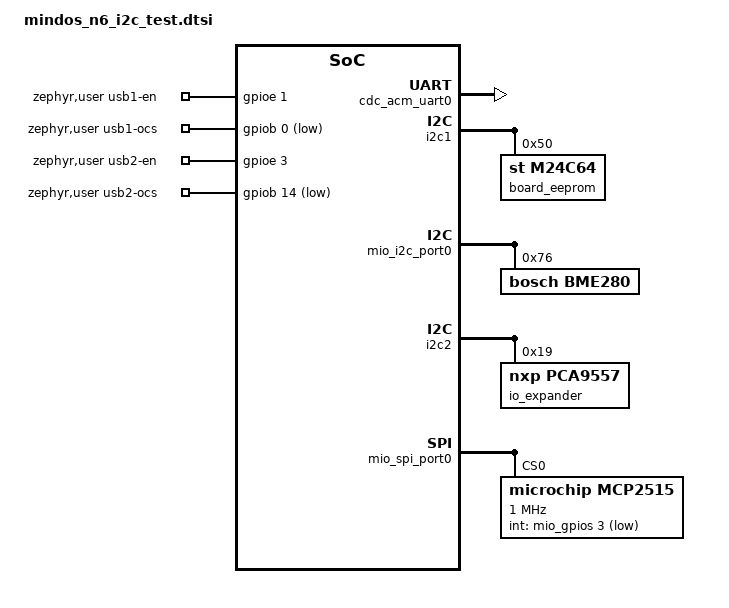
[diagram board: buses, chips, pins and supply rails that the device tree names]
/*
 * BME280 environmental sensor (temperature/pressure/humidity) wired
 * to the io_i2c (i2c2) header. Found at address 0x76 (SDO -> GND)
 * during the bus scan.
 *
 * PCA9557PW,118 8-bit I2C GPIO expander wired to io_i2c, found at
 * address 0x19 (address pins: A0=VCC, A1=GND, A2=GND). Uses the
 * out-of-tree "nxp,pca9557" driver in ../pca9557_driver - see that
 * directory's README for why Zephyr's in-tree "nxp,pca95xx" driver
 * does not work with this part.
 *
 * MCP2515 SPI CAN controller wired to the io_spi (spi2) header.
 * Chip select uses the hardware NSS pin (PA11) already wired up in
 * spi2's pinctrl; INT is on PB3.
 *
 * MAX98357A I2S amp/DAC wired to the io_i2s (i2s1) header. i2s1 is
 * already enabled by the board, but its DMA channels come from
 * gpdma1, which the SoC devicetree leaves "disabled" by default and
 * no board file turns on - without this, the I2S driver fails to
 * build (DEVICE_DT_GET() on a DMA channel device that doesn't exist).
 *
 * Two MIC2026-1YM USB port power switches (one per USB port). Each
 * has an EN input (PE1/PE3, active-high, drive high to turn on the
 * 5V switch) and an OCS/FLAG# output (PB5/PB14, active-low, asserted
 * on overcurrent/thermal fault - the closest available signal to
 * "is 5V actually present and healthy"). Exposed via the standard
 * zephyr,user node rather than a custom binding, since these are
 * just plain GPIOs with no protocol/chip driver involved.
 *
 * USB1 (usbotg_hs1 / zephyr_udc0) is also exercised as a USB CDC-ACM
 * serial device (see usb_device_test.c) - it shares the same physical
 * connector as the MIC2026-switched 5V above. usb_power_test.c always
 * drives that port's EN high, so when plugging this port into a PC,
 * physically isolate/unpower the MIC2026 first to avoid two 5V
 * sources fighting on the same VBUS pin.
 *
 * SPDX-License-Identifier: Apache-2.0
 */

#include <freq.h>
#include <zephyr/dt-bindings/gpio/gpio.h>

&gpdma1 {
	status = "okay";
};

/*
 * AXISRAM3: extra 448KB SRAM bank beyond the primary axisram1/2
 * region already used as zephyr,sram - see axisram_test.c for what
 * this demonstrates and why zephyr,sram itself can't just be
 * switched to axisram1 for "more RAM" (short version: on this
 * secure/serial-boot ("/sb") target the Boot ROM RAM-loads the whole
 * image into a fixed 511KB window at the top of the axisram1/2
 * range - that's what "axisram2" actually denotes here - and
 * anywhere else in that range is invalid during SB/FSBL boot).
 *
 * 448KB comes from the gap between axisram3/4/5/6's addresses in
 * dts/arm/st/n6/stm32n6.dtsi (0x34200000, 0x34270000, 0x342e0000,
 * 0x34350000 - each 0x70000 apart), cross-checked against an ST
 * engineer's figure of "3.75MB total across AXISRAM1-6" on the ST
 * community forum (3.75MB - 2MB for axisram1/2 = 1.75MB over 4
 * banks = 448KB each). Neither the upstream SoC dtsi nor either
 * official ST reference board (stm32n6570_dk, nucleo_n657x0_q) sets
 * reg on axisram3-6, so there's no in-tree example to copy from.
 *
 * status = "okay" is set explicitly (not relying on the default) -
 * CONFIG_STM32N6_AXISRAM's `default y if $(dt_nodelabel_enabled,...)`
 * did not turn on with axisram3 merely lacking an explicit
 * "disabled" status; it needs a literal "okay".
 */
&axisram3 {
	reg = <0x34200000 DT_SIZE_K(448)>;
	status = "okay";
};

/ {
	zephyr,user {
		usb1-en-gpios = <&gpioe 1 GPIO_ACTIVE_HIGH>;
		usb1-ocs-gpios = <&gpiob 0 GPIO_ACTIVE_LOW>;
		usb2-en-gpios = <&gpioe 3 GPIO_ACTIVE_HIGH>;
		usb2-ocs-gpios = <&gpiob 14 GPIO_ACTIVE_LOW>;
	};
};

&zephyr_udc0 {
	cdc_acm_uart0 {
		compatible = "zephyr,cdc-acm-uart";
		label = "Zephyr USB CDC-ACM";
	};
};

/* M24C64-R: 64 Kbit (8 KiB) I2C EEPROM holding the board configuration
 * settings. E0-E2 are tied low, giving address 0x50 (it is the device
 * seen at 0x50 in the io_cnf_i2c scan). 32-byte pages, 16-bit word
 * address, 5 ms maximum write cycle time (datasheet tW).
 */
&i2c1 {
	board_eeprom: eeprom@50 {
		compatible = "st,m24c64", "atmel,at24";
		reg = <0x50>;
		size = <DT_SIZE_K(8)>;
		pagesize = <32>;
		address-width = <16>;
		timeout = <5>;
	};
};

/* Customer devices go under the I/O card's port slots (mind_io): the card
 * EEPROM says which host bus and chip-select each slot uses.
 */
&mio_i2c_port0 {
	bme280: bme280@76 {
		compatible = "bosch,bme280";
		reg = <0x76>;
	};
};

/* The PCA9557 is mounted on the I/O card itself, on the IO_I2C host bus */
&i2c2 {
	io_expander: pca9557@19 {
		compatible = "nxp,pca9557";
		reg = <0x19>;
		gpio-controller;
		#gpio-cells = <2>;
		ngpios = <8>;
	};
};

&mio_spi_port0 {
	mcp2515: can@0 {
		compatible = "microchip,mcp2515";
		reg = <0x0>;
		spi-max-frequency = <DT_FREQ_M(1)>;
		osc-freq = <DT_FREQ_M(8)>;
		int-gpios = <&mio_gpios 3 GPIO_ACTIVE_LOW>; /* connector IO_GPIO3 */
		bitrate = <500000>;
		status = "okay";

		can-transceiver {
			max-bitrate = <1000000>;
		};
	};
};
